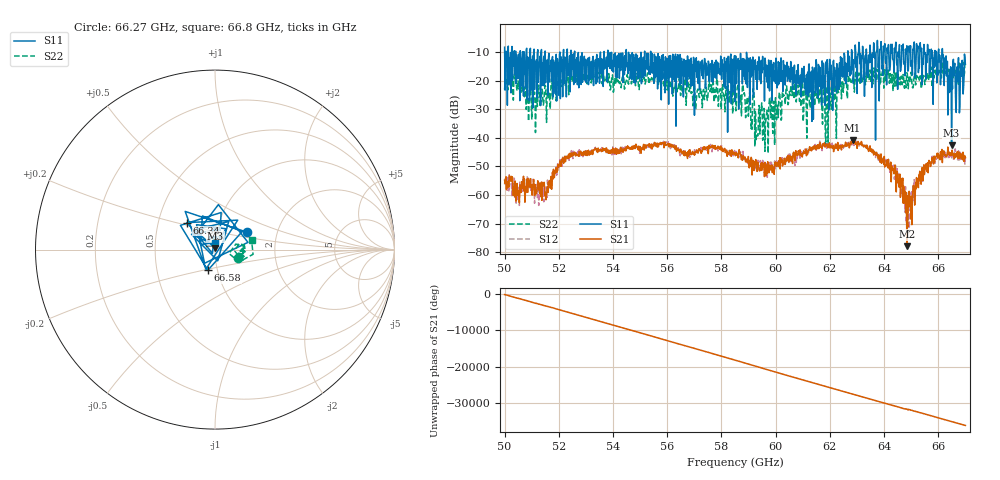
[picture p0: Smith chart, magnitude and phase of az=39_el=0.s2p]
!Created with skrf (http://scikit-rf.org).
# GHz S RI R 50.0
!freq ReS11 ImS11 ReS21 ImS21 ReS12 ImS12 ReS22 ImS22
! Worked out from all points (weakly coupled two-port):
!   1001 points, 50 GHz to 67 GHz, reference 50 ohm
!   highest |S21| = -40.83 dB at 62.84 GHz (marker M1); lowest = -77.9 dB at 64.84 GHz (marker M2)
!   lowest |S11| = -42.6 dB at 66.49 GHz (marker M3), VSWR 1.01, Z = 50.3 + j0.694 ohm
!   |S11| at or under -10 dB: 52.58 GHz to 53.67 GHz (1.086 GHz wide, 2.05 % of centre); 55.39 GHz to 62.66 GHz (7.274 GHz wide, 12.3 % of centre); 66.16 GHz to end of sweep (the widest 3 of 60)
!   |S22| runs from -45.4 to -13.4 dB; largest |S21 - S12| = 0.0024
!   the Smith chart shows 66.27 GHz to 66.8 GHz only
!   S11 on the Smith chart (normalised r, x): 66.27 GHz: 1.39, +0.28; 66.34 GHz: 0.70, +0.22; 66.58 GHz: 0.90, -0.21; 66.8 GHz: 0.99, +0.07
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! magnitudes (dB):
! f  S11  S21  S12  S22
! 50 GHz  -8.4  -54.8  -56.3  -23.2
! 51.56 GHz  -15.2  -58.2  -60.8  -26.6
! 52.19 GHz  -21.1  -48.3  -47.5  -19.3
! 52.84 GHz  -12.4  -46.1  -46.1  -19.3
! 55.68 GHz  -13.4  -43.0  -42.4  -21.4
! 58.5 GHz  -27.4  -45.6  -45.7  -24.1
! 59.11 GHz  -12.9  -47.2  -47.3  -34.4
! 59.32 GHz  -23.1  -51.7  -50.2  -39.0
! 60.64 GHz  -15.4  -45.4  -46.0  -22.0
! 61.34 GHz  -34.3  -43.4  -43.5  -25.0
! 61.88 GHz  -17.4  -42.2  -43.6  -23.3
! 62.84 GHz  -16.2  -40.8  -42.4  -19.6
! 64.18 GHz  -12.1  -49.0  -49.0  -17.6
! 64.5 GHz  -23.1  -52.6  -54.3  -16.5
! 64.84 GHz  -7.8  -77.9  -60.5  -17.3
! 65.54 GHz  -19.5  -50.7  -50.9  -19.4
! 66.27 GHz  -13.9  -46.1  -45.1  -17.4
! 66.34 GHz  -13.3  -45.8  -46.3  -18.0
! 66.49 GHz  -42.6  -45.9  -47.0  -15.9
! 66.58 GHz  -18.3  -45.6  -45.9  -15.6
! 66.8 GHz  -29.0  -47.2  -45.1  -13.5
! 67 GHz  -14.3  -46.9  -47.0  -14.6
